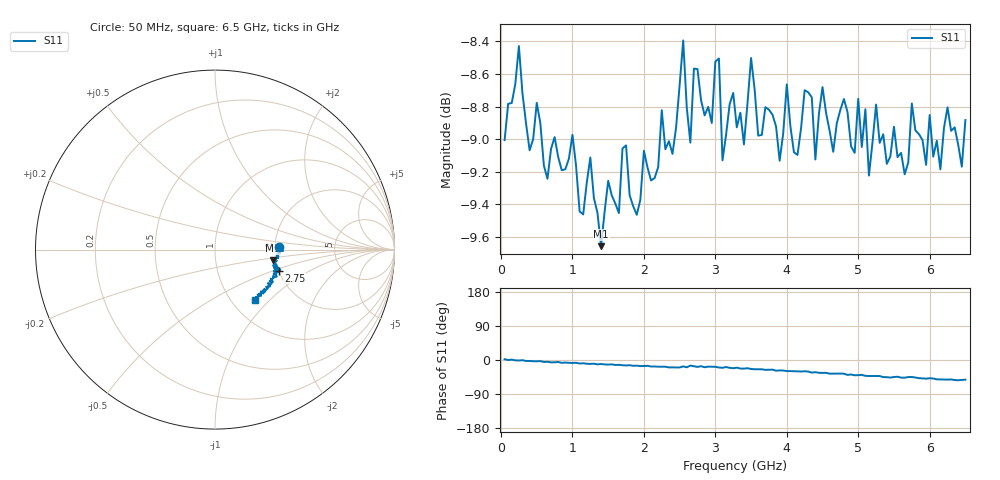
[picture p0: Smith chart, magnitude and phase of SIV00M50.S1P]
! (c) 1999  Infineon Technologies AG, Munich
! Infineon Technologies  Discrete & RF Semiconductors
! BAT24-02LS
! Si Schottky Diode in TSSLP-2
! IF = 0.5 mA
! S-Parameters:  July  2007
# GHz  S  MA  R  50
!  f  S11
! GHz  MAG  ANG
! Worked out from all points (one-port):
!   130 points, 50 MHz to 6.5 GHz, reference 50 ohm
!   lowest |S11| = -9.7 dB at 1.4 GHz (marker M1), VSWR 1.98, Z = 96.6 - j13.1 ohm
!   |S11| at or under -10 dB: nowhere
!   S11 on the Smith chart (normalised r, x): 50 MHz: 2.10, +0.06; 2.75 GHz: 2.00, -0.54; 6.5 GHz: 1.27, -0.83
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0.05  0.3546 2.1
0.25  0.379 -1.3
0.4  0.352 -2.5
0.9  0.3474 -6.7
1.25  0.3503 -10.3
1.4  0.329 -10.6
1.7  0.3525 -13.8
1.9  0.3364 -14.9
2.5  0.3686 -19.7
2.55  0.3804 -16.9
2.6  0.3628 -19.2
2.65  0.354 -14.8
2.75  0.3728 -18.2
3.3  0.3578 -20.2
3.5  0.3758 -23.7
3.6  0.3557 -24.5
3.9  0.3495 -27.5
4  0.3688 -29.1
4.1  0.3516 -29.7
4.25  0.3673 -29.7
4.4  0.3498 -32.1
4.5  0.3681 -34.1
4.9  0.353 -38.3
5.35  0.3561 -45.1
5.7  0.349 -45.0
5.75  0.3639 -44.9
6.15  0.3473 -51.2
6.5  0.3597 -51.9
